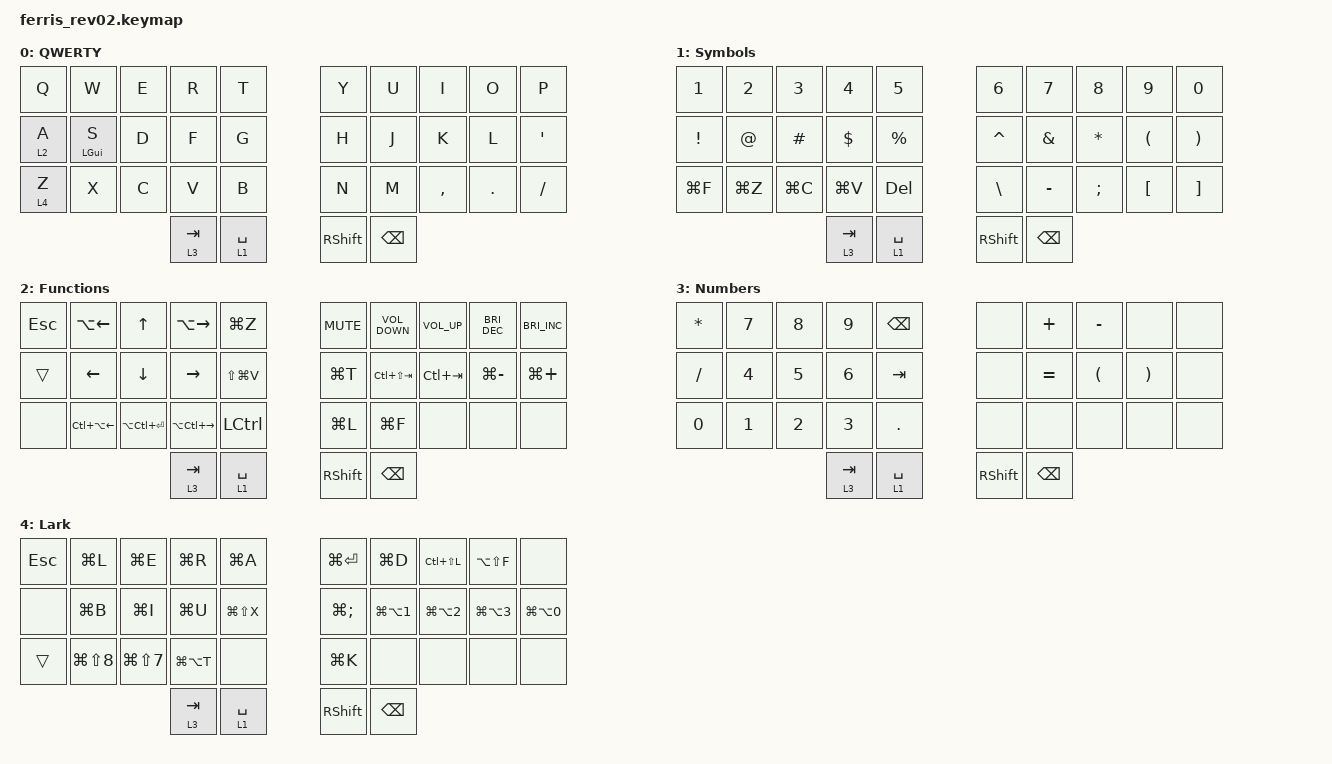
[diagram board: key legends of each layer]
#include <behaviors.dtsi>
#include <dt-bindings/zmk/keys.h>

/ {
    combos {
        compatible = "zmk,combos";

        Enter {
            bindings = <&kp ENTER>;
            key-positions = <31 10>;
        };

        Shift_Enter {
            bindings = <&kp LS(ENTER)>;
            key-positions = <20 31>;
        };

        Desktop_Left {
            bindings = <&kp LC(LEFT)>;
            key-positions = <11 12>;
        };

        Desktop_Right {
            bindings = <&kp LC(RIGHT)>;
            key-positions = <12 13>;
        };

        Shift {
            bindings = <&kp LEFT_SHIFT>;
            key-positions = <13 10>;
        };
    };

    keymap {
        compatible = "zmk,keymap";

        QWERTY {
            bindings = <
&kp Q    &kp W           &kp E  &kp R      &kp T          &kp Y            &kp U     &kp I      &kp O       &kp P
&lt 2 A  &mt LEFT_GUI S  &kp D  &kp F      &kp G          &kp H            &kp J     &kp K      &kp L       &kp SQT
&lt 4 Z  &kp X           &kp C  &kp V      &kp B          &kp N            &kp M     &kp COMMA  &kp PERIOD  &kp SLASH
                                &lt 3 TAB  &lt 1 SPACE    &kp RIGHT_SHIFT  &kp BSPC
            >;
        };

        Symbols {
            bindings = <
&kp N1           &kp N2     &kp N3     &kp N4      &kp N5         &kp N6     &kp N7         &kp N8    &kp N9                &kp N0
&kp EXCLAMATION  &kp AT     &kp HASH   &kp DOLLAR  &kp PERCENT    &kp CARET  &kp AMPERSAND  &kp STAR  &kp LEFT_PARENTHESIS  &kp RIGHT_PARENTHESIS
&kp LG(F)        &kp LG(Z)  &kp LG(C)  &kp LG(V)   &kp DEL        &kp BSLH   &kp MINUS      &kp SEMI  &kp LBKT              &kp RBKT
                                       &lt 3 TAB   &lt 1 SPACE    &kp RSHFT  &kp BSPC
            >;
        };

        Functions {
            bindings = <
&kp ESCAPE  &kp LA(LEFT_ARROW)  &kp UP_ARROW       &kp LA(RIGHT)      &kp LG(Z)           &kp K_MUTE       &kp C_VOLUME_DOWN  &kp C_VOLUME_UP  &kp C_BRIGHTNESS_DEC  &kp C_BRIGHTNESS_INC
&trans      &kp LEFT_ARROW      &kp DOWN           &kp RIGHT          &kp LS(LG(V))       &kp LG(T)        &kp LC(LS(TAB))    &kp LC(TAB)      &kp LG(MINUS)         &kp LG(PLUS)
&none       &kp LC(LA(LEFT))    &kp LA(LC(ENTER))  &kp LA(LC(RIGHT))  &kp LEFT_CONTROL    &kp LG(L)        &kp LG(F)          &none            &none                 &none
                                                   &lt 3 TAB          &lt 1 SPACE         &kp RIGHT_SHIFT  &kp BACKSPACE
            >;
        };

        Numbers {
            bindings = <
&kp STAR  &kp N7  &kp N8  &kp N9     &kp BACKSPACE    &none            &kp PLUS   &kp MINUS             &none                  &none
&kp FSLH  &kp N4  &kp N5  &kp N6     &kp TAB          &none            &kp EQUAL  &kp LEFT_PARENTHESIS  &kp RIGHT_PARENTHESIS  &none
&kp N0    &kp N1  &kp N2  &kp N3     &kp DOT          &none            &none      &none                 &none                  &none
                          &lt 3 TAB  &lt 1 SPACE      &kp RIGHT_SHIFT  &kp BSPC
            >;
        };

        Lark {
            bindings = <
&kp ESCAPE  &kp LG(L)             &kp LG(E)       &kp LG(R)      &kp LG(A)        &kp LG(ENTER)      &kp LG(D)             &kp LC(LS(L))         &kp LA(LS(F))         &none
&none       &kp LG(B)             &kp LG(I)       &kp LG(U)      &kp LG(LS(X))    &kp LG(SEMICOLON)  &kp LG(LA(NUMBER_1))  &kp LG(LA(NUMBER_2))  &kp LG(LA(NUMBER_3))  &kp LG(LA(N0))
&trans      &kp LG(LS(NUMBER_8))  &kp LG(LS(N7))  &kp LG(LA(T))  &none            &kp LG(K)          &none                 &none                 &none                 &none
                                                  &lt 3 TAB      &lt 1 SPACE      &kp RIGHT_SHIFT    &kp BACKSPACE
            >;
        };
    };
};
